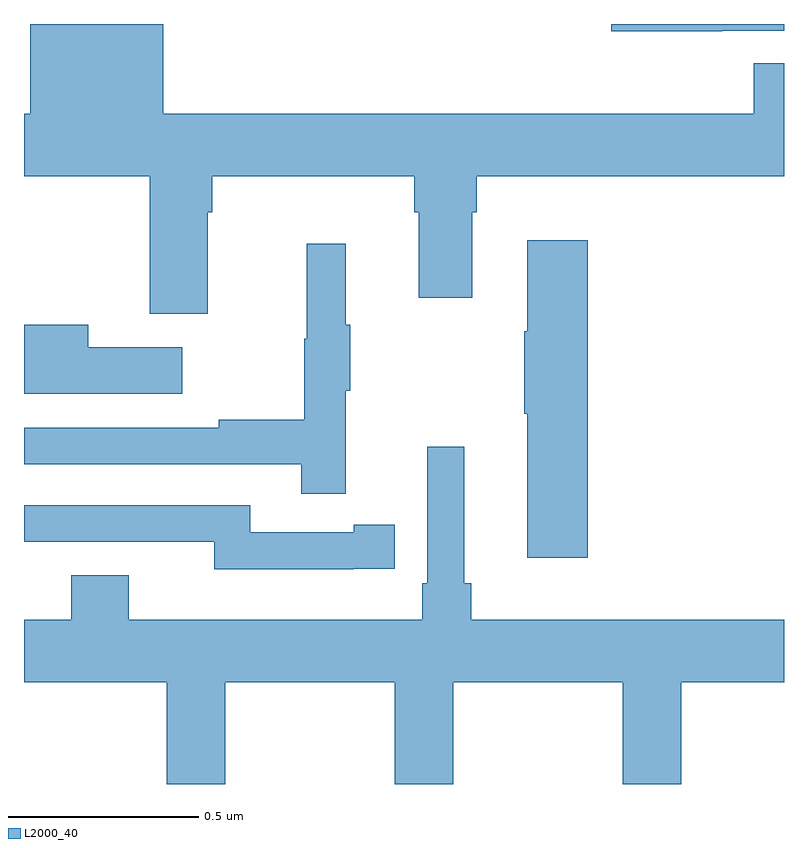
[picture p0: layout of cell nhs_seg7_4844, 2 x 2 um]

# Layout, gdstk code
import gdstk
lib = gdstk.Library(unit=1e-6, precision=1e-09)
def P(c, l, *ps):  # polygons
    for p in ps: c.add(gdstk.Polygon(p, *l))
L2000_40 = (2000, 40)

nhs_seg7_4844 = lib.new_cell('nhs_seg7_4844')
P(nhs_seg7_4844, L2000_40, [(178.016,1016.764),(178,1016.764),(178,1016.6),(178.331,1016.6),(178.331,1016.238),(178.483,1016.238),(178.483,1016.504),(178.496,1016.504),(178.496,1016.6),(179.027,1016.6),(179.027,1016.504),(179.039,1016.504),(179.039,1016.28),(179.179,1016.28),(179.179,1016.504),(179.192,1016.504),(179.192,1016.6),(180,1016.6),(180,1016.897),(179.921,1016.897),(179.921,1016.764),(178.366,1016.764),(178.366,1017),(178.016,1017)],
  [(179.837,1016.982),(180,1016.982),(180,1017),(179.545,1017),(179.545,1016.981),(179.837,1016.981)],
  [(179.483,1016.431),(179.324,1016.431),(179.324,1016.192),(179.317,1016.192),(179.317,1015.975),(179.324,1015.975),(179.324,1015.596),(179.483,1015.596)],
  [(178.847,1016.035),(178.858,1016.035),(178.858,1016.209),(178.847,1016.209),(178.847,1016.422),(178.744,1016.422),(178.744,1016.172),(178.737,1016.172),(178.737,1015.958),(178.513,1015.958),(178.513,1015.938),(178,1015.938),(178,1015.842),(178.729,1015.842),(178.729,1015.764),(178.847,1015.764)],
  [(178.417,1016.149),(178.169,1016.149),(178.169,1016.209),(178,1016.209),(178,1016.027),(178.417,1016.027)],
  [(178.53,1015.268),(178.975,1015.268),(178.975,1015),(179.13,1015),(179.13,1015.268),(179.575,1015.268),(179.575,1015),(179.73,1015),(179.73,1015.268),(180,1015.268),(180,1015.432),(179.177,1015.432),(179.177,1015.528),(179.158,1015.528),(179.158,1015.888),(179.061,1015.888),(179.061,1015.528),(179.048,1015.528),(179.048,1015.432),(178.276,1015.432),(178.276,1015.549),(178.124,1015.549),(178.124,1015.432),(178,1015.432),(178,1015.268),(178.375,1015.268),(178.375,1015),(178.53,1015)],
  [(178.868,1015.566),(178.976,1015.566),(178.976,1015.682),(178.868,1015.682),(178.868,1015.662),(178.596,1015.662),(178.596,1015.734),(178,1015.734),(178,1015.637),(178.04,1015.637),(178.04,1015.638),(178.5,1015.638),(178.5,1015.565),(178.868,1015.565)])

lib.write_gds('nhs_seg7_4844.gds')
